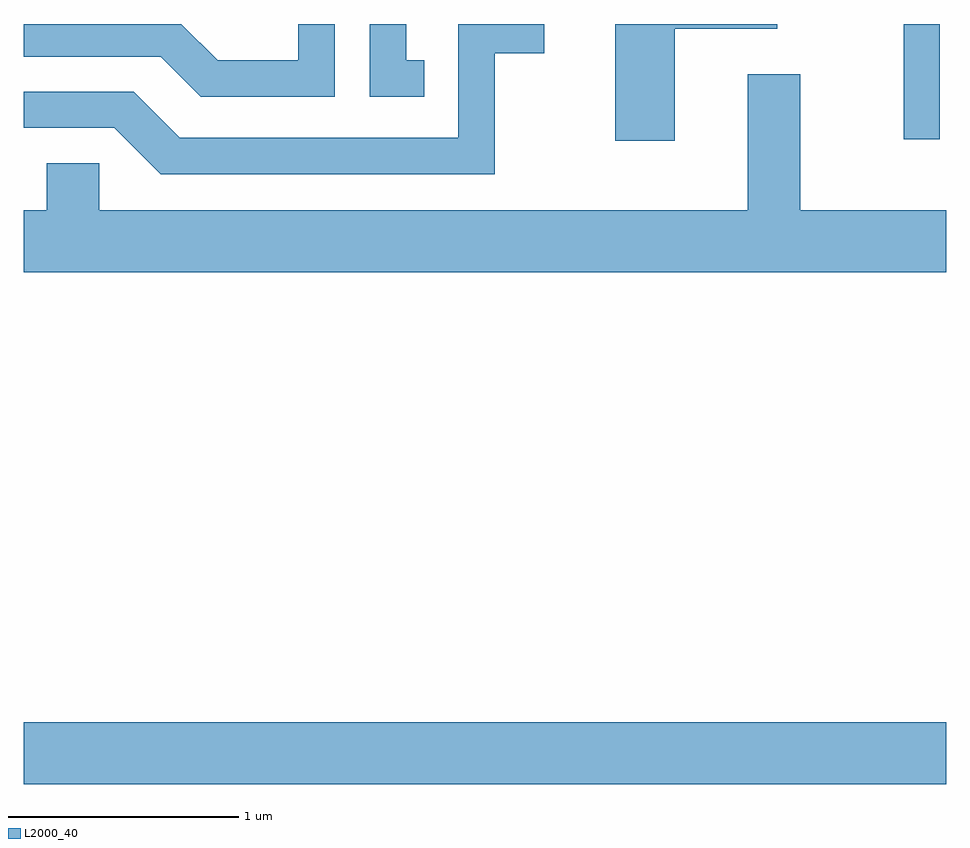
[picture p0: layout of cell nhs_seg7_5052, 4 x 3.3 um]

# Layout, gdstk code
import gdstk
lib = gdstk.Library(unit=1e-6, precision=1e-09)
def R(c, l, rs):  # rectangles x0, y0, x1, y1
    for r in rs: c.add(gdstk.rectangle(r[:2], r[2:], *l))
def P(c, l, *ps):  # polygons
    for p in ps: c.add(gdstk.Polygon(p, *l))
L2000_40 = (2000, 40)

nhs_seg7_5052 = lib.new_cell('nhs_seg7_5052')
R(nhs_seg7_5052, L2000_40, [(339.611,1740.956,343.611,1741.224), (343.426,1743.753,343.584,1744.252)])
P(nhs_seg7_5052, L2000_40, [(340.959,1744.252),(340.801,1744.252),(340.801,1744.094),(340.452,1744.094),(340.294,1744.252),(339.611,1744.252),(339.611,1744.111),(340.204,1744.111),(340.379,1743.936),(340.959,1743.936)],
  [(341.654,1744.126),(341.869,1744.126),(341.869,1744.252),(341.496,1744.252),(341.496,1743.759),(340.287,1743.759),(340.087,1743.959),(339.611,1743.959),(339.611,1743.801),(340.004,1743.801),(340.204,1743.601),(341.654,1743.601)],
  [(342.434,1744.231),(342.878,1744.231),(342.878,1744.252),(342.176,1744.252),(342.176,1743.746),(342.434,1743.746)],
  [(341.348,1744.094),(341.269,1744.094),(341.269,1744.252),(341.111,1744.252),(341.111,1743.936),(341.348,1743.936)],
  [(343.611,1743.444),(342.979,1743.444),(342.979,1744.034),(342.751,1744.034),(342.751,1743.444),(339.939,1743.444),(339.939,1743.649),(339.711,1743.649),(339.711,1743.444),(339.611,1743.444),(339.611,1743.176),(343.611,1743.176)])

lib.write_gds('nhs_seg7_5052.gds')
